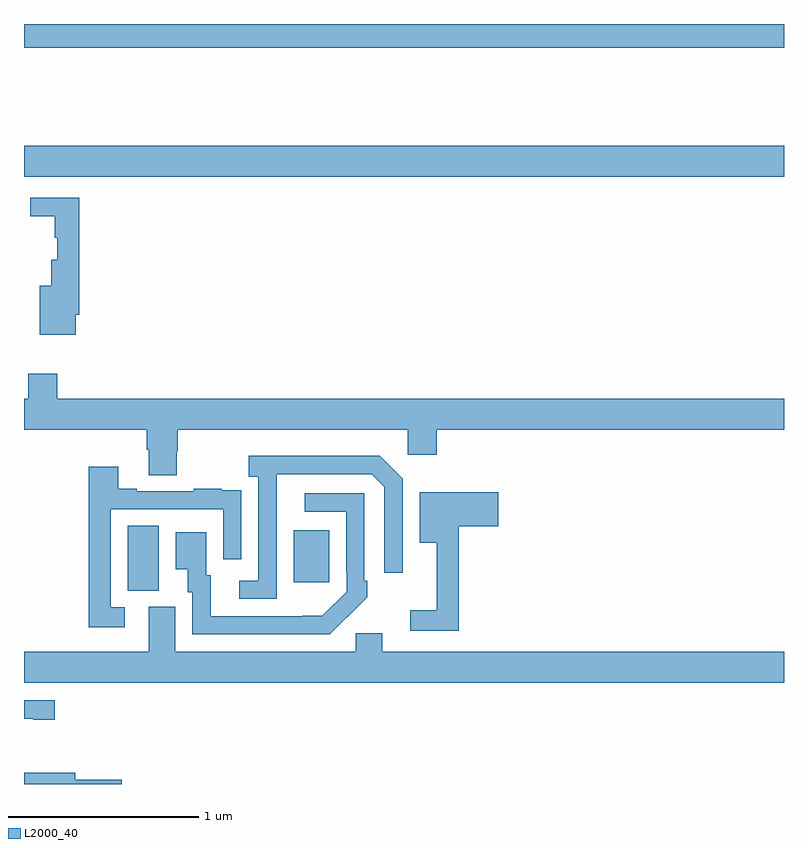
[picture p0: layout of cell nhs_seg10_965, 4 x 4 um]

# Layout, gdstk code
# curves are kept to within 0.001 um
import gdstk
lib = gdstk.Library(unit=1e-6, precision=1e-09)
def R(c, l, rs):  # rectangles x0, y0, x1, y1
    for r in rs: c.add(gdstk.rectangle(r[:2], r[2:], *l))
def P(c, l, *ps):  # polygons
    for p in ps: c.add(gdstk.Polygon(p, *l))
L2000_40 = (2000, 40)

nhs_seg10_965 = lib.new_cell('nhs_seg10_965')
R(nhs_seg10_965, L2000_40, [(161.546,1251.517,161.71,1251.86), (162.419,1251.561,162.607,1251.835), (161,1253.696,165,1253.86), (161,1254.376,165,1254.5)])
P(nhs_seg10_965, L2000_40, [(161.272,1252.969),(161.291,1252.969),(161.291,1253.586),(161.034,1253.586),(161.034,1253.488),(161.163,1253.488),(161.163,1253.375),(161.174,1253.375),(161.174,1253.26),(161.144,1253.26),(161.144,1253.122),(161.084,1253.122),(161.084,1252.865),(161.272,1252.865)],
  [(161.805,1252.251),(161.81,1252.251),(161.81,1252.364),(163.02,1252.364),(163.02,1252.233),(163.172,1252.233),(163.172,1252.364),(165,1252.364),(165,1252.528),(161.174,1252.528),(161.174,1252.66),(161.022,1252.66),(161.022,1252.528),(161,1252.528),(161,1252.364),(161.645,1252.364),(161.645,1252.258),(161.657,1252.258),(161.657,1252.126),(161.805,1252.126)],
  [(162.33,1251.931),(162.331,1252.131),(162.831,1252.131),(162.897,1252.065),(162.897,1251.612),(162.993,1251.612),(162.993,1252.107),(162.872,1252.228),(162.183,1252.228),(162.183,1252.118),(162.234,1252.118),(162.234,1251.57),(162.132,1251.57),(162.132,1251.474),(162.33,1251.474)],
  [(161.53,1251.429),(161.457,1251.429),(161.457,1251.945),(162.048,1251.945),(162.048,1251.684),(162.144,1251.684),(162.144,1251.938),(162.143,1251.938),(162.143,1252.047),(162.041,1252.047),(162.041,1252.054),(161.893,1252.054),(161.893,1252.041),(161.593,1252.041),(161.593,1252.054),(161.497,1252.054),(161.497,1252.171),(161.341,1252.171),(161.341,1251.324),(161.53,1251.324)],
  [(163.289,1251.857),(163.495,1251.857),(163.495,1252.035),(163.082,1252.035),(163.082,1251.77),(163.172,1251.77),(163.172,1251.415),(163.032,1251.415),(163.032,1251.306),(163.289,1251.306)],
  [(162.701,1251.379),(162.702,1251.378),(162.807,1251.483),(162.807,1251.571),(162.792,1251.571),(162.792,1252.029),(162.477,1252.029),(162.477,1251.933),(162.696,1251.933),(162.696,1251.613),(162.699,1251.613),(162.699,1251.513),(162.571,1251.385),(161.983,1251.384),(161.983,1251.6),(161.959,1251.6),(161.959,1251.826),(161.798,1251.826),(161.798,1251.629),(161.861,1251.629),(161.861,1251.51),(161.886,1251.51),(161.886,1251.288),(162.61,1251.288)],
  [(165,1251.196),(162.886,1251.196),(162.886,1251.294),(162.747,1251.294),(162.747,1251.196),(161.797,1251.196),(161.797,1251.432),(161.657,1251.432),(161.657,1251.196),(161,1251.196),(161,1251.032),(165,1251.032)],
  [(161.161,1250.94),(161,1250.94),(161,1250.844),(161.048,1250.844),(161.048,1250.839),(161.161,1250.839)],
  [(161.515,1250.522),(161.269,1250.522),(161.269,1250.559),(161,1250.559),(161,1250.5),(161.515,1250.5)])

lib.write_gds('nhs_seg10_965.gds')
